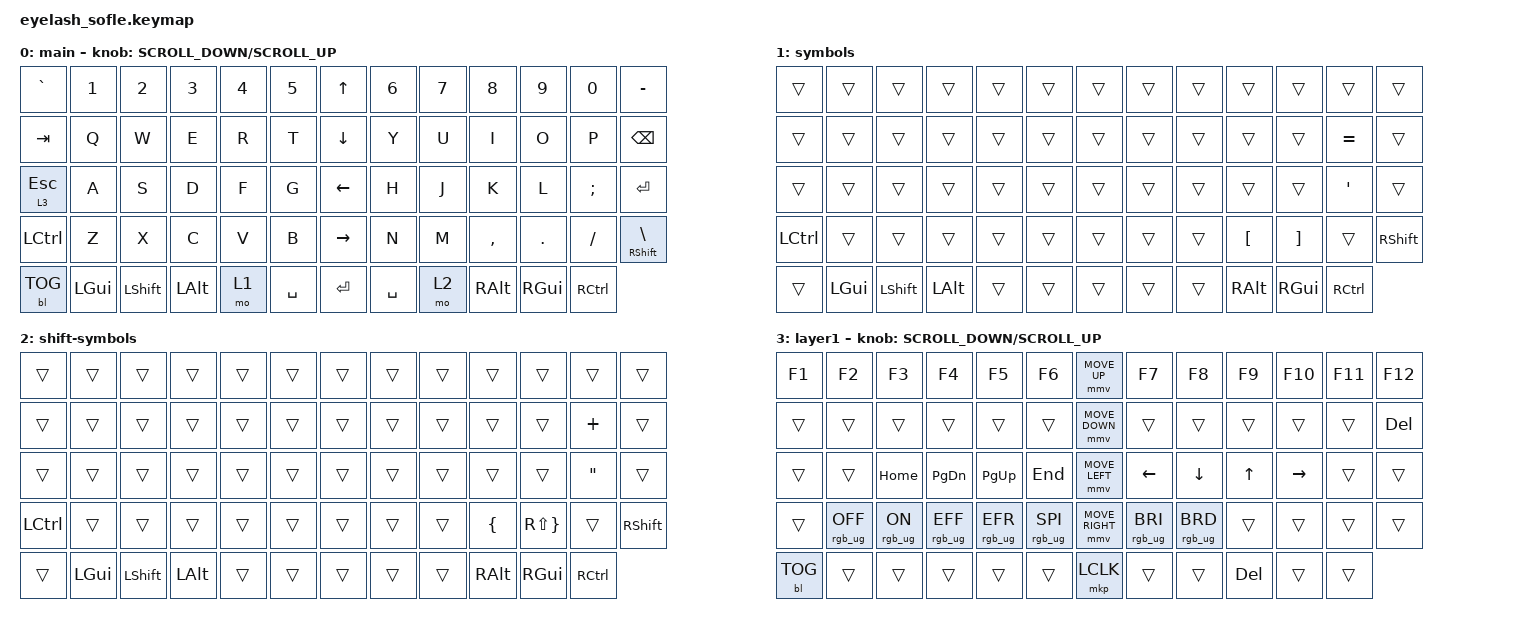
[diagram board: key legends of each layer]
#define ZMK_POINTING_DEFAULT_MOVE_VAL 1200  // 600
#define ZMK_POINTING_DEFAULT_SCRL_VAL 25   // 10

#include <input/processors.dtsi>
#include <zephyr/dt-bindings/input/input-event-codes.h>
#include <behaviors.dtsi>
#include <dt-bindings/zmk/backlight.h>
#include <dt-bindings/zmk/keys.h>
#include <dt-bindings/zmk/pointing.h>
#include <dt-bindings/zmk/rgb.h>

&mmv_input_listener { input-processors = <&zip_xy_scaler 2 1>; };

&msc_input_listener { input-processors = <&zip_scroll_scaler 2 1>; };

&msc {
    acceleration-exponent = <1>;      // 0
    time-to-max-speed-ms = <100>;       // 300
    delay-ms = <0>;                   // 0
};

&mmv {
    time-to-max-speed-ms = <500>;
    acceleration-exponent = <1>;
    trigger-period-ms = <16>;
};

/ {
    scroll_encoder: scroll_encoder {
        compatible = "zmk,behavior-sensor-rotate";
        #sensor-binding-cells = <0>;
        bindings = <&msc SCRL_DOWN>, <&msc SCRL_UP>;

        tap-ms = <100>;
    };

    behaviors {
    };

    keymap {
        compatible = "zmk,keymap";

        main {
            bindings = <
&kp GRAVE     &kp N1        &kp N2          &kp N3        &kp N4  &kp N5       &kp UP_ARROW     &kp N6     &kp N7  &kp N8         &kp N9    &kp N0             &kp MINUS
&kp TAB       &kp Q         &kp W           &kp E         &kp R   &kp T        &kp DOWN_ARROW   &kp Y      &kp U   &kp I          &kp O     &kp P              &kp BSPC
&lt 3 ESCAPE  &kp A         &kp S           &kp D         &kp F   &kp G        &kp LEFT_ARROW   &kp H      &kp J   &kp K          &kp L     &kp SEMI           &kp ENTER
&kp LCTRL     &kp Z         &kp X           &kp C         &kp V   &kp B        &kp RIGHT_ARROW  &kp N      &kp M   &kp COMMA      &kp DOT   &kp FSLH           &mt RIGHT_SHIFT BACKSLASH
&bl BL_TOG    &kp LEFT_GUI  &kp LEFT_SHIFT  &kp LEFT_ALT  &mo 1   &kp SPACE    &kp ENTER        &kp SPACE  &mo 2   &kp RIGHT_ALT  &kp RGUI  &kp RIGHT_CONTROL
            >;

            sensor-bindings = <&inc_dec_kp K_SCROLL_DOWN K_SCROLL_UP>;
            display-name = "main";
            label = "main";
        };

        symbols {
            bindings = <
&trans     &trans        &trans          &trans        &trans  &trans    &trans  &trans  &trans  &trans            &trans             &trans     &trans
&trans     &trans        &trans          &trans        &trans  &trans    &trans  &trans  &trans  &trans            &trans             &kp EQUAL  &trans
&trans     &trans        &trans          &trans        &trans  &trans    &trans  &trans  &trans  &trans            &trans             &kp APOS   &trans
&kp LCTRL  &trans        &trans          &trans        &trans  &trans    &trans  &trans  &trans  &kp LEFT_BRACKET  &kp RIGHT_BRACKET  &trans     &kp RSHFT
&trans     &kp LEFT_GUI  &kp LEFT_SHIFT  &kp LEFT_ALT  &trans  &trans    &trans  &trans  &trans  &kp RALT          &kp RGUI           &kp RCTRL
            >;

            label = "symbols";
        };

        shift-symbols {
            bindings = <
&trans     &trans    &trans     &trans    &trans  &trans    &trans  &trans  &trans  &trans          &trans               &trans             &trans
&trans     &trans    &trans     &trans    &trans  &trans    &trans  &trans  &trans  &trans          &trans               &kp PLUS           &trans
&trans     &trans    &trans     &trans    &trans  &trans    &trans  &trans  &trans  &trans          &trans               &kp DOUBLE_QUOTES  &trans
&kp LCTRL  &trans    &trans     &trans    &trans  &trans    &trans  &trans  &trans  &kp LEFT_BRACE  &kp RS(RIGHT_BRACE)  &trans             &kp RSHFT
&trans     &kp LGUI  &kp LSHFT  &kp LALT  &trans  &trans    &trans  &trans  &trans  &kp RALT        &kp RGUI             &kp RCTRL
            >;

            label = "shift-symbols";
        };

        controls {
            bindings = <
&kp F1      &kp F2           &kp F3          &kp F4           &kp F5           &kp F6             &mmv MOVE_UP     &kp F7           &kp F8           &kp F9        &kp F10    &kp F11  &kp F12
&trans      &trans           &trans          &trans           &trans           &trans             &mmv MOVE_DOWN   &trans           &trans           &trans        &trans     &trans   &kp DELETE
&trans      &trans           &kp HOME        &kp PAGE_DOWN    &kp PAGE_UP      &kp END            &mmv MOVE_LEFT   &kp LEFT_ARROW   &kp DOWN_ARROW   &kp UP_ARROW  &kp RIGHT  &trans   &trans
&trans      &rgb_ug RGB_OFF  &rgb_ug RGB_ON  &rgb_ug RGB_EFF  &rgb_ug RGB_EFR  &rgb_ug RGB_SPI    &mmv MOVE_RIGHT  &rgb_ug RGB_BRI  &rgb_ug RGB_BRD  &trans        &trans     &trans   &trans
&bl BL_TOG  &trans           &trans          &trans           &trans           &trans             &mkp LCLK        &trans           &trans           &kp DELETE    &trans     &trans
            >;

            display-name = "layer1";
            sensor-bindings = <&inc_dec_kp K_SCROLL_DOWN K_SCROLL_UP>;
            label = "controls";
        };
    };
};
